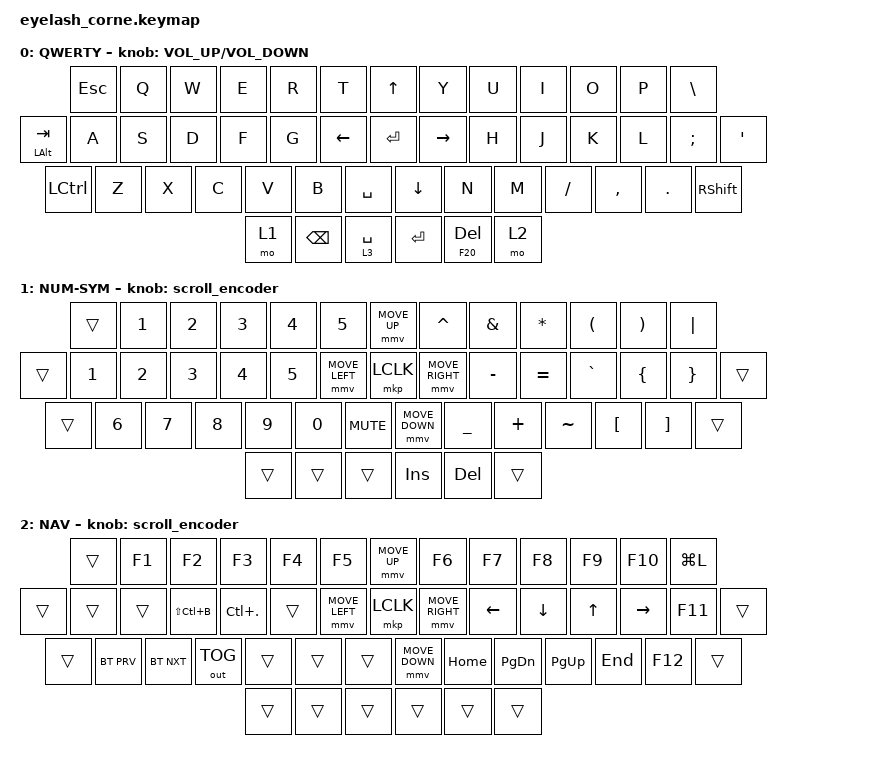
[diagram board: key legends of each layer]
#define ZMK_POINTING_DEFAULT_MOVE_VAL 1200  // 600
#define ZMK_POINTING_DEFAULT_SCRL_VAL 25   // 10

#include <input/processors.dtsi>
#include <zephyr/dt-bindings/input/input-event-codes.h>
#include <behaviors.dtsi>
#include <dt-bindings/zmk/bt.h>
#include <dt-bindings/zmk/keys.h>
#include <dt-bindings/zmk/outputs.h>
#include <dt-bindings/zmk/pointing.h>
#include <dt-bindings/zmk/rgb.h>

&mmv_input_listener { input-processors = <&zip_xy_scaler 2 1>; };

&msc_input_listener { input-processors = <&zip_scroll_scaler 2 1>; };

&msc {
    acceleration-exponent = <1>;      // 0
    time-to-max-speed-ms = <100>;       // 300
    delay-ms = <0>;                   // 0
};

&mmv {
    time-to-max-speed-ms = <500>;
    acceleration-exponent = <1>;
    trigger-period-ms = <16>;
};

/ {
    combos {
        compatible = "zmk,combos";

        cut {
            bindings = <&kp LC(X)>;
            key-positions = <25 26>;
            layers = <0>;
        };

        copy {
            bindings = <&kp LC(C)>;
            key-positions = <26 27>;
            layers = <0>;
        };

        paste {
            bindings = <&kp LC(V)>;
            key-positions = <27 28>;
            layers = <0>;
        };

        caps_lock {
            bindings = <&kp CAPSLOCK>;
            key-positions = <5 6>;
            layers = <0>;
        };

        reset_bluetooth {
            bindings = <&bt BT_CLR>;
            key-positions = <5 6 4 3 7 8>;
            layers = <2>;
        };
    };

    behaviors {
        td0: td0 {
            compatible = "zmk,behavior-tap-dance";
            display-name = "Shift/Caps Lock Tap Dance";
            #binding-cells = <0>;
            bindings = <&kp LEFT_SHIFT>, <&kp CAPS>;
        };

        tpm: tap_preferred_modifier {
            compatible = "zmk,behavior-hold-tap";
            #binding-cells = <2>;
            tapping-term-ms = <200>;
            flavor = "tap-preferred";
            bindings = <&kp>, <&kp>;
        };
    };

    rgb_encoder: rgb_encoder {
        compatible = "zmk,behavior-sensor-rotate";
        #sensor-binding-cells = <0>;
        bindings = <&rgb_ug RGB_BRI>, <&rgb_ug RGB_BRD>;
    };

    scroll_encoder: scroll_encoder {
        compatible = "zmk,behavior-sensor-rotate";
        #sensor-binding-cells = <0>;
        bindings = <&msc SCRL_DOWN>, <&msc SCRL_UP>;

        tap-ms = <100>;
    };

    keymap {
        compatible = "zmk,keymap";

        default_layer {
            display-name = "QWERTY";
            bindings = <
&kp ESC    &kp Q  &kp W  &kp E     &kp R  &kp T                               &kp UP                &kp Y        &kp U  &kp I      &kp O    &kp P     &kp BACKSLASH
&mt LALT TAB       &kp A  &kp S  &kp D     &kp F  &kp G                     &kp LEFT  &kp ENTER  &kp RIGHT  &kp H        &kp J  &kp K      &kp L    &kp SEMI  &kp SQT
&kp LCTRL  &kp Z  &kp X  &kp C     &kp V  &kp B        &kp SPACE              &kp DOWN              &kp N        &kp M  &kp FSLH  &kp COMMA  &kp DOT   &kp RSHIFT
                         &mo 1  &kp BACKSPACE  &lt 3 SPACE                                               &kp RET  &mt F20 DELETE  &mo 2
            >;

             sensor-bindings = <&inc_dec_kp C_VOLUME_UP C_VOLUME_DOWN>;

           
        };

        lower_layer {
            display-name = "NUM-SYM";
            bindings = <
&trans  &kp N1           &kp N2          &kp N3        &kp N4        &kp N5                                         &mmv MOVE_UP                     &kp CARET       &kp AMPERSAND  &kp ASTERISK  &kp LEFT_PARENTHESIS  &kp RIGHT_PARENTHESIS  &kp PIPE
&trans  &kp NUMBER_1     &kp NUMBER_2  &kp NUMBER_3  &kp NUMBER_4  &kp NUMBER_5                   &mmv MOVE_LEFT  &mkp LCLK       &mmv MOVE_RIGHT  &kp MINUS       &kp EQUAL      &kp GRAVE     &kp LEFT_BRACE        &kp RIGHT_BRACE        &trans
&trans  &kp NUMBER_6     &kp NUMBER_7  &kp NUMBER_8  &kp NUMBER_9  &kp NUMBER_0  &kp C_MUTE                    &mmv MOVE_DOWN                   &kp UNDERSCORE  &kp PLUS       &kp TILDE     &kp LEFT_BRACKET      &kp RIGHT_BRACKET      &trans
                                         &trans        &trans        &trans                                                                          &kp INS          &kp DEL          &trans
            >;

            sensor-bindings = <&scroll_encoder>;
        };

        raise_layer {
            display-name = "NAV";
            bindings = <
&trans  &kp F1      &kp F2      &kp F3         &kp F4               &kp F5                            &mmv MOVE_UP                     &kp F6          &kp F7         &kp F8        &kp F9     &kp F10  &kp LG(L)
&trans  &trans      &trans      &kp LS(LC(B))  &kp LC(PERIOD)       &trans             &mmv MOVE_LEFT  &mkp LCLK       &mmv MOVE_RIGHT  &kp LEFT_ARROW  &kp DOWN       &kp UP_ARROW  &kp RIGHT  &kp F11  &trans
&trans  &bt BT_PRV  &bt BT_NXT  &out OUT_TOG   &trans    &trans   &trans                    &mmv MOVE_DOWN                   &kp HOME        &kp PAGE_DOWN  &kp PAGE_UP   &kp END    &kp F12  &trans
                                    &trans     &trans     &trans                                                             &trans    &trans     &trans
            >;

            sensor-bindings = <&scroll_encoder>;
        };
    };
};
